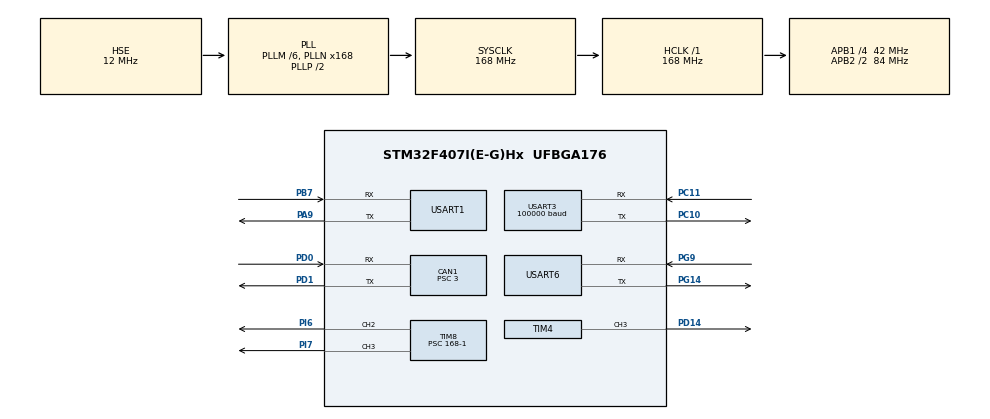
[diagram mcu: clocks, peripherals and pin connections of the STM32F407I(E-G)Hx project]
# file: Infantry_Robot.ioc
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CAN1.ABOM=ENABLE
CAN1.BS1=CAN_BS1_7TQ
CAN1.BS2=CAN_BS2_6TQ
CAN1.CalculateBaudRate=1000000
CAN1.CalculateTimeBit=999.99
CAN1.CalculateTimeQuantum=71.42857142857143
CAN1.Prescaler=3
CAN1.TXFP=ENABLE
Dma.Request0=USART3_RX
Dma.Request1=USART1_RX
Dma.USART1_RX.1.Direction=DMA_PERIPH_TO_MEMORY
Dma.USART1_RX.1.FIFOMode=DMA_FIFOMODE_DISABLE
Dma.USART1_RX.1.Instance=DMA2_Stream2
Dma.USART1_RX.1.MemDataAlignment=DMA_MDATAALIGN_BYTE
Dma.USART1_RX.1.MemInc=DMA_MINC_ENABLE
Dma.USART1_RX.1.Mode=DMA_NORMAL
Dma.USART1_RX.1.PeriphDataAlignment=DMA_PDATAALIGN_BYTE
Dma.USART1_RX.1.PeriphInc=DMA_PINC_DISABLE
Dma.USART1_RX.1.Priority=DMA_PRIORITY_HIGH
Dma.USART3_RX.0.Direction=DMA_PERIPH_TO_MEMORY
Dma.USART3_RX.0.FIFOMode=DMA_FIFOMODE_DISABLE
Dma.USART3_RX.0.Instance=DMA1_Stream1
Dma.USART3_RX.0.MemDataAlignment=DMA_MDATAALIGN_BYTE
Dma.USART3_RX.0.MemInc=DMA_MINC_ENABLE
Dma.USART3_RX.0.Mode=DMA_CIRCULAR
Dma.USART3_RX.0.PeriphDataAlignment=DMA_PDATAALIGN_BYTE
Dma.USART3_RX.0.PeriphInc=DMA_PINC_DISABLE
Dma.USART3_RX.0.Priority=DMA_PRIORITY_VERY_HIGH
Mcu.Family=STM32F4
Mcu.Name=STM32F407I(E-G)Hx
Mcu.Package=UFBGA176
NVIC.CAN1_RX0_IRQn=true\:1\:0\:true\:false\:true\:true\:true
NVIC.DMA1_Stream1_IRQn=true\:0\:0\:false\:false\:true\:false\:true
NVIC.DMA2_Stream2_IRQn=true\:0\:0\:false\:false\:true\:false\:true
NVIC.PriorityGroup=NVIC_PRIORITYGROUP_4
NVIC.TIM2_IRQn=true\:2\:0\:true\:false\:true\:true\:true
NVIC.TIM3_IRQn=true\:2\:0\:true\:false\:true\:true\:true
NVIC.USART1_IRQn=true\:1\:0\:true\:false\:true\:true\:true
NVIC.USART3_IRQn=true\:0\:0\:false\:false\:true\:true\:true
PA13.Mode=Serial_Wire
PA13.Signal=SYS_JTMS-SWDIO
PA14.Mode=Serial_Wire
PA14.Signal=SYS_JTCK-SWCLK
PA9.Mode=Asynchronous
PA9.Signal=USART1_TX
PB7.Mode=Asynchronous
PB7.Signal=USART1_RX
PC10.Mode=Asynchronous
PC10.Signal=USART3_TX
PC11.Mode=Asynchronous
PC11.Signal=USART3_RX
PD0.Mode=CAN_Activate
PD0.Signal=CAN1_RX
PD1.Mode=CAN_Activate
PD1.Signal=CAN1_TX
PD14.Signal=S_TIM4_CH3
PG14.Mode=Asynchronous
PG14.Signal=USART6_TX
PG9.Mode=Asynchronous
PG9.Signal=USART6_RX
PH0-OSC_IN.Mode=HSE-External-Oscillator
PH0-OSC_IN.Signal=RCC_OSC_IN
PH1-OSC_OUT.Mode=HSE-External-Oscillator
PH1-OSC_OUT.Signal=RCC_OSC_OUT
PI6.Signal=S_TIM8_CH2
PI7.Signal=S_TIM8_CH3
ProjectManager.HeapSize=0x200
ProjectManager.StackSize=0x400
ProjectManager.TargetToolchain=MDK-ARM V5.32
RCC.48MHZClocksFreq_Value=84000000
RCC.AHBFreq_Value=168000000
RCC.APB1CLKDivider=RCC_HCLK_DIV4
RCC.APB1Freq_Value=42000000
RCC.APB1TimFreq_Value=84000000
RCC.APB2CLKDivider=RCC_HCLK_DIV2
RCC.APB2Freq_Value=84000000
RCC.APB2TimFreq_Value=168000000
RCC.CortexFreq_Value=168000000
RCC.HCLKFreq_Value=168000000
RCC.HSE_VALUE=12000000
RCC.HSI_VALUE=16000000
RCC.LSE_VALUE=32768
RCC.PLLM=6
RCC.PLLN=168
RCC.PLLSourceVirtual=RCC_PLLSOURCE_HSE
RCC.SYSCLKFreq_VALUE=168000000
RCC.SYSCLKSource=RCC_SYSCLKSOURCE_PLLCLK
RCC.VCOOutputFreq_Value=336000000
SH.S_TIM4_CH3.0=TIM4_CH3,PWM Generation3 CH3
SH.S_TIM8_CH2.0=TIM8_CH2,PWM Generation2 CH2
SH.S_TIM8_CH3.0=TIM8_CH3,PWM Generation3 CH3
TIM2.Period=2000-1
TIM2.Prescaler=84-1
TIM3.Period=1666-1
TIM3.Prescaler=84-1
TIM4.Channel-PWM\ Generation3\ CH3=TIM_CHANNEL_3
TIM4.Period=150-1
TIM4.Prescaler=84-1
TIM8.Channel-PWM\ Generation2\ CH2=TIM_CHANNEL_2
TIM8.Channel-PWM\ Generation3\ CH3=TIM_CHANNEL_3
TIM8.Period=2500-1
TIM8.Prescaler=168-1
TIM8.Pulse-PWM\ Generation2\ CH2=1000-1
TIM8.Pulse-PWM\ Generation3\ CH3=1000-1
USART1.VirtualMode=VM_ASYNC
USART3.BaudRate=100000
USART3.Parity=PARITY_EVEN
USART3.VirtualMode=VM_ASYNC
USART3.WordLength=WORDLENGTH_9B
USART6.VirtualMode=VM_ASYNC
VP_TIM2_VS_ClockSourceINT.Mode=Internal
VP_TIM3_VS_ClockSourceINT.Mode=Internal
VP_TIM4_VS_ClockSourceINT.Mode=Internal
VP_TIM8_VS_ClockSourceINT.Mode=Internal
board=custom

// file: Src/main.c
/* USER CODE BEGIN Header */
/**
  ******************************************************************************
  * @file           : main.c
  * @brief          : Main program body
  ******************************************************************************
  * @attention
  *
  * <h2><center>&copy; Copyright (c) 2022 STMicroelectronics.
  * All rights reserved.</center></h2>
  *
  * This software component is licensed by ST under BSD 3-Clause license,
  * the "License"; You may not use this file except in compliance with the
  * License. You may obtain a copy of the License at:
  *                        opensource.org/licenses/BSD-3-Clause
  *
  ******************************************************************************
  */
/* USER CODE END Header */
#include "main.h"

/* USER CODE BEGIN Includes */
#include "drv_can.h"
#include "drv_usart.h"

#include "oscilloscope.h"
#include "dr16.h"
#include "jy901s.h"
#include "pid.h"
#include "buzzer.h"
#include "gimbals.h"
/* USER CODE END Includes */

CAN_HandleTypeDef hcan1;

TIM_HandleTypeDef htim2;
TIM_HandleTypeDef htim3;
TIM_HandleTypeDef htim4;
TIM_HandleTypeDef htim8;

UART_HandleTypeDef huart1;
UART_HandleTypeDef huart3;
UART_HandleTypeDef huart6;
DMA_HandleTypeDef hdma_usart1_rx;
DMA_HandleTypeDef hdma_usart3_rx;

void SystemClock_Config(void);
static void MX_GPIO_Init(void);
static void MX_CAN1_Init(void);
static void MX_DMA_Init(void);
static void MX_USART1_UART_Init(void);
static void MX_USART3_UART_Init(void);
static void MX_TIM2_Init(void);
static void MX_TIM3_Init(void);
static void MX_TIM8_Init(void);
static void MX_USART6_UART_Init(void);
static void MX_TIM4_Init(void);
/* USER CODE BEGIN PFP */
extern int16_t what;
/* USER CODE END PFP */

int main(void)
{

  /* MCU Configuration--------------------------------------------------------*/

  /* Reset of all peripherals, Initializes the Flash interface and the Systick. */
  HAL_Init();

  /* Configure the system clock */
  SystemClock_Config();

  /* Initialize all configured peripherals */
  MX_GPIO_Init();
  MX_CAN1_Init();
  MX_DMA_Init();
  MX_USART1_UART_Init();
  MX_USART3_UART_Init();
  MX_TIM2_Init();
  MX_TIM3_Init();
  MX_TIM8_Init();
  MX_USART6_UART_Init();
  MX_TIM4_Init();
  /* USER CODE BEGIN 2 */
	//LoveRiver();
  /* USER CODE END 2 */

  /* Infinite loop */
  while (1)
  {

    /* USER CODE BEGIN 3 */
//		OutData[0] =-Mouse_move.y;//pitch轴控制量
//		OutData[1] = pitch_gyro_angle; //pitch轴的实时角度
//		OutData[2] = gyro_exp; //外环经比例运算得到的期望速度
//		OutData[3] = pitch_gyro;//电机实时速度

//		OutData[0] =-Mouse_move.x;//pitch轴控制量
//		OutData[1] = yaw_gyro_angle; //pitch轴的实时角度
//		OutData[2] = yaw_angle_error.Now_out; //外环经比例运算得到的期望速度
//		OutData[3] = yaw_gyro;//电机实时速度
//
//		OutData[0] = yaw_angle_error.Now_out;
//		OutData[1] = yaw_gyro;
//		OutData[2] = yaw_gyro_error.Now;
//		OutData[3] = yaw_gyro_error.Now_out/10;

			OutData[0] = chas7_error.Now;
			OutData[1] = chas7_error.Now_out;
			OutData[2] = Moto_7.speed;
		OutPut_Data();
  }
  /* USER CODE END 3 */
}

void SystemClock_Config(void)
{
  RCC_OscInitTypeDef RCC_OscInitStruct = {0};
  RCC_ClkInitTypeDef RCC_ClkInitStruct = {0};

  /** Configure the main internal regulator output voltage
  */
  __HAL_RCC_PWR_CLK_ENABLE();
  __HAL_PWR_VOLTAGESCALING_CONFIG(PWR_REGULATOR_VOLTAGE_SCALE1);
  /** Initializes the RCC Oscillators according to the specified parameters
  * in the RCC_OscInitTypeDef structure.
  */
  RCC_OscInitStruct.OscillatorType = RCC_OSCILLATORTYPE_HSE;
  RCC_OscInitStruct.HSEState = RCC_HSE_ON;
  RCC_OscInitStruct.PLL.PLLState = RCC_PLL_ON;
  RCC_OscInitStruct.PLL.PLLSource = RCC_PLLSOURCE_HSE;
  RCC_OscInitStruct.PLL.PLLM = 6;
  RCC_OscInitStruct.PLL.PLLN = 168;
  RCC_OscInitStruct.PLL.PLLP = RCC_PLLP_DIV2;
  RCC_OscInitStruct.PLL.PLLQ = 4;
  if (HAL_RCC_OscConfig(&RCC_OscInitStruct) != HAL_OK)
  {
    Error_Handler();
  }
  /** Initializes the CPU, AHB and APB buses clocks
  */
  RCC_ClkInitStruct.ClockType = RCC_CLOCKTYPE_HCLK|RCC_CLOCKTYPE_SYSCLK
                              |RCC_CLOCKTYPE_PCLK1|RCC_CLOCKTYPE_PCLK2;
  RCC_ClkInitStruct.SYSCLKSource = RCC_SYSCLKSOURCE_PLLCLK;
  RCC_ClkInitStruct.AHBCLKDivider = RCC_SYSCLK_DIV1;
  RCC_ClkInitStruct.APB1CLKDivider = RCC_HCLK_DIV4;
  RCC_ClkInitStruct.APB2CLKDivider = RCC_HCLK_DIV2;

  if (HAL_RCC_ClockConfig(&RCC_ClkInitStruct, FLASH_LATENCY_5) != HAL_OK)
  {
    Error_Handler();
  }
}

static void MX_CAN1_Init(void)
{

  hcan1.Instance = CAN1;
  hcan1.Init.Prescaler = 3;
  hcan1.Init.Mode = CAN_MODE_NORMAL;
  hcan1.Init.SyncJumpWidth = CAN_SJW_1TQ;
  hcan1.Init.TimeSeg1 = CAN_BS1_7TQ;
  hcan1.Init.TimeSeg2 = CAN_BS2_6TQ;
  hcan1.Init.TimeTriggeredMode = DISABLE;
  hcan1.Init.AutoBusOff = ENABLE;
  hcan1.Init.AutoWakeUp = DISABLE;
  hcan1.Init.AutoRetransmission = DISABLE;
  hcan1.Init.ReceiveFifoLocked = DISABLE;
  hcan1.Init.TransmitFifoPriority = ENABLE;
  if (HAL_CAN_Init(&hcan1) != HAL_OK)
  {
    Error_Handler();
  }
  /* USER CODE BEGIN CAN1_Init 2 */
	Can_Init();
  /* USER CODE END CAN1_Init 2 */

}

static void MX_TIM2_Init(void)
{

  TIM_ClockConfigTypeDef sClockSourceConfig = {0};
  TIM_MasterConfigTypeDef sMasterConfig = {0};

  htim2.Instance = TIM2;
  htim2.Init.Prescaler = 84-1;
  htim2.Init.CounterMode = TIM_COUNTERMODE_UP;
  htim2.Init.Period = 2000-1;
  htim2.Init.ClockDivision = TIM_CLOCKDIVISION_DIV1;
  htim2.Init.AutoReloadPreload = TIM_AUTORELOAD_PRELOAD_DISABLE;
  if (HAL_TIM_Base_Init(&htim2) != HAL_OK)
  {
    Error_Handler();
  }
  sClockSourceConfig.ClockSource = TIM_CLOCKSOURCE_INTERNAL;
  if (HAL_TIM_ConfigClockSource(&htim2, &sClockSourceConfig) != HAL_OK)
  {
    Error_Handler();
  }
  sMasterConfig.MasterOutputTrigger = TIM_TRGO_RESET;
  sMasterConfig.MasterSlaveMode = TIM_MASTERSLAVEMODE_DISABLE;
  if (HAL_TIMEx_MasterConfigSynchronization(&htim2, &sMasterConfig) != HAL_OK)
  {
    Error_Handler();
  }
  /* USER CODE BEGIN TIM2_Init 2 */
	HAL_TIM_Base_Start_IT(&htim2);
  /* USER CODE END TIM2_Init 2 */

}

static void MX_TIM3_Init(void)
{

  TIM_ClockConfigTypeDef sClockSourceConfig = {0};
  TIM_MasterConfigTypeDef sMasterConfig = {0};

  htim3.Instance = TIM3;
  htim3.Init.Prescaler = 84-1;
  htim3.Init.CounterMode = TIM_COUNTERMODE_UP;
  htim3.Init.Period = 1666-1;
  htim3.Init.ClockDivision = TIM_CLOCKDIVISION_DIV1;
  htim3.Init.AutoReloadPreload = TIM_AUTORELOAD_PRELOAD_DISABLE;
  if (HAL_TIM_Base_Init(&htim3) != HAL_OK)
  {
    Error_Handler();
  }
  sClockSourceConfig.ClockSource = TIM_CLOCKSOURCE_INTERNAL;
  if (HAL_TIM_ConfigClockSource(&htim3, &sClockSourceConfig) != HAL_OK)
  {
    Error_Handler();
  }
  sMasterConfig.MasterOutputTrigger = TIM_TRGO_RESET;
  sMasterConfig.MasterSlaveMode = TIM_MASTERSLAVEMODE_DISABLE;
  if (HAL_TIMEx_MasterConfigSynchronization(&htim3, &sMasterConfig) != HAL_OK)
  {
    Error_Handler();
  }
  /* USER CODE BEGIN TIM3_Init 2 */
	HAL_TIM_Base_Start_IT(&htim3);
  /* USER CODE END TIM3_Init 2 */

}

static void MX_TIM4_Init(void)
{

  TIM_ClockConfigTypeDef sClockSourceConfig = {0};
  TIM_MasterConfigTypeDef sMasterConfig = {0};
  TIM_OC_InitTypeDef sConfigOC = {0};

  htim4.Instance = TIM4;
  htim4.Init.Prescaler = 84-1;
  htim4.Init.CounterMode = TIM_COUNTERMODE_UP;
  htim4.Init.Period = 150-1;
  htim4.Init.ClockDivision = TIM_CLOCKDIVISION_DIV1;
  htim4.Init.AutoReloadPreload = TIM_AUTORELOAD_PRELOAD_DISABLE;
  if (HAL_TIM_Base_Init(&htim4) != HAL_OK)
  {
    Error_Handler();
  }
  sClockSourceConfig.ClockSource = TIM_CLOCKSOURCE_INTERNAL;
  if (HAL_TIM_ConfigClockSource(&htim4, &sClockSourceConfig) != HAL_OK)
  {
    Error_Handler();
  }
  if (HAL_TIM_PWM_Init(&htim4) != HAL_OK)
  {
    Error_Handler();
  }
  sMasterConfig.MasterOutputTrigger = TIM_TRGO_RESET;
  sMasterConfig.MasterSlaveMode = TIM_MASTERSLAVEMODE_DISABLE;
  if (HAL_TIMEx_MasterConfigSynchronization(&htim4, &sMasterConfig) != HAL_OK)
  {
    Error_Handler();
  }
  sConfigOC.OCMode = TIM_OCMODE_PWM1;
  sConfigOC.Pulse = 0;
  sConfigOC.OCPolarity = TIM_OCPOLARITY_HIGH;
  sConfigOC.OCFastMode = TIM_OCFAST_DISABLE;
  if (HAL_TIM_PWM_ConfigChannel(&htim4, &sConfigOC, TIM_CHANNEL_3) != HAL_OK)
  {
    Error_Handler();
  }
  /* USER CODE BEGIN TIM4_Init 2 */
	HAL_TIM_PWM_Start(&htim4,TIM_CHANNEL_3);
  /* USER CODE END TIM4_Init 2 */
  HAL_TIM_MspPostInit(&htim4);

}

static void MX_TIM8_Init(void)
{

  TIM_ClockConfigTypeDef sClockSourceConfig = {0};
  TIM_MasterConfigTypeDef sMasterConfig = {0};
  TIM_OC_InitTypeDef sConfigOC = {0};
  TIM_BreakDeadTimeConfigTypeDef sBreakDeadTimeConfig = {0};

  htim8.Instance = TIM8;
  htim8.Init.Prescaler = 168-1;
  htim8.Init.CounterMode = TIM_COUNTERMODE_UP;
  htim8.Init.Period = 2500-1;
  htim8.Init.ClockDivision = TIM_CLOCKDIVISION_DIV1;
  htim8.Init.RepetitionCounter = 0;
  htim8.Init.AutoReloadPreload = TIM_AUTORELOAD_PRELOAD_DISABLE;
  if (HAL_TIM_Base_Init(&htim8) != HAL_OK)
  {
    Error_Handler();
  }
  sClockSourceConfig.ClockSource = TIM_CLOCKSOURCE_INTERNAL;
  if (HAL_TIM_ConfigClockSource(&htim8, &sClockSourceConfig) != HAL_OK)
  {
    Error_Handler();
  }
  if (HAL_TIM_PWM_Init(&htim8) != HAL_OK)
  {
    Error_Handler();
  }
  sMasterConfig.MasterOutputTrigger = TIM_TRGO_RESET;
  sMasterConfig.MasterSlaveMode = TIM_MASTERSLAVEMODE_DISABLE;
  if (HAL_TIMEx_MasterConfigSynchronization(&htim8, &sMasterConfig) != HAL_OK)
  {
    Error_Handler();
  }
  sConfigOC.OCMode = TIM_OCMODE_PWM1;
  sConfigOC.Pulse = 1000-1;
  sConfigOC.OCPolarity = TIM_OCPOLARITY_HIGH;
  sConfigOC.OCNPolarity = TIM_OCNPOLARITY_HIGH;
  sConfigOC.OCFastMode = TIM_OCFAST_DISABLE;
  sConfigOC.OCIdleState = TIM_OCIDLESTATE_RESET;
  sConfigOC.OCNIdleState = TIM_OCNIDLESTATE_RESET;
  if (HAL_TIM_PWM_ConfigChannel(&htim8, &sConfigOC, TIM_CHANNEL_2) != HAL_OK)
  {
    Error_Handler();
  }
  if (HAL_TIM_PWM_ConfigChannel(&htim8, &sConfigOC, TIM_CHANNEL_3) != HAL_OK)
  {
    Error_Handler();
  }
  sBreakDeadTimeConfig.OffStateRunMode = TIM_OSSR_DISABLE;
  sBreakDeadTimeConfig.OffStateIDLEMode = TIM_OSSI_DISABLE;
  sBreakDeadTimeConfig.LockLevel = TIM_LOCKLEVEL_OFF;
  sBreakDeadTimeConfig.DeadTime = 0;
  sBreakDeadTimeConfig.BreakState = TIM_BREAK_DISABLE;
  sBreakDeadTimeConfig.BreakPolarity = TIM_BREAKPOLARITY_HIGH;
  sBreakDeadTimeConfig.AutomaticOutput = TIM_AUTOMATICOUTPUT_DISABLE;
  if (HAL_TIMEx_ConfigBreakDeadTime(&htim8, &sBreakDeadTimeConfig) != HAL_OK)
  {
    Error_Handler();
  }
  /* USER CODE BEGIN TIM8_Init 2 */
	HAL_TIM_PWM_Start(&htim8,TIM_CHANNEL_2);
	HAL_TIM_PWM_Start(&htim8,TIM_CHANNEL_3);
	HAL_Delay(500);
  /* USER CODE END TIM8_Init 2 */
  HAL_TIM_MspPostInit(&htim8);

}

static void MX_USART1_UART_Init(void)
{

  huart1.Instance = USART1;
  huart1.Init.BaudRate = 115200;
  huart1.Init.WordLength = UART_WORDLENGTH_8B;
  huart1.Init.StopBits = UART_STOPBITS_1;
  huart1.Init.Parity = UART_PARITY_NONE;
  huart1.Init.Mode = UART_MODE_TX_RX;
  huart1.Init.HwFlowCtl = UART_HWCONTROL_NONE;
  huart1.Init.OverSampling = UART_OVERSAMPLING_16;
  if (HAL_UART_Init(&huart1) != HAL_OK)
  {
    Error_Handler();
  }
  /* USER CODE BEGIN USART1_Init 2 */
	JY901_Init();
  /* USER CODE END USART1_Init 2 */

}

static void MX_USART3_UART_Init(void)
{

  huart3.Instance = USART3;
  huart3.Init.BaudRate = 100000;
  huart3.Init.WordLength = UART_WORDLENGTH_9B;
  huart3.Init.StopBits = UART_STOPBITS_1;
  huart3.Init.Parity = UART_PARITY_EVEN;
  huart3.Init.Mode = UART_MODE_TX_RX;
  huart3.Init.HwFlowCtl = UART_HWCONTROL_NONE;
  huart3.Init.OverSampling = UART_OVERSAMPLING_16;
  if (HAL_UART_Init(&huart3) != HAL_OK)
  {
    Error_Handler();
  }
  /* USER CODE BEGIN USART3_Init 2 */
	RC_Init();
  /* USER CODE END USART3_Init 2 */

}

static void MX_USART6_UART_Init(void)
{

  huart6.Instance = USART6;
  huart6.Init.BaudRate = 115200;
  huart6.Init.WordLength = UART_WORDLENGTH_8B;
  huart6.Init.StopBits = UART_STOPBITS_1;
  huart6.Init.Parity = UART_PARITY_NONE;
  huart6.Init.Mode = UART_MODE_TX_RX;
  huart6.Init.HwFlowCtl = UART_HWCONTROL_NONE;
  huart6.Init.OverSampling = UART_OVERSAMPLING_16;
  if (HAL_UART_Init(&huart6) != HAL_OK)
  {
    Error_Handler();
  }

}

static void MX_DMA_Init(void)
{

  /* DMA controller clock enable */
  __HAL_RCC_DMA1_CLK_ENABLE();
  __HAL_RCC_DMA2_CLK_ENABLE();

  /* DMA interrupt init */
  /* DMA1_Stream1_IRQn interrupt configuration */
  HAL_NVIC_SetPriority(DMA1_Stream1_IRQn, 0, 0);
  HAL_NVIC_EnableIRQ(DMA1_Stream1_IRQn);
  /* DMA2_Stream2_IRQn interrupt configuration */
  HAL_NVIC_SetPriority(DMA2_Stream2_IRQn, 0, 0);
  HAL_NVIC_EnableIRQ(DMA2_Stream2_IRQn);

}

static void MX_GPIO_Init(void)
{

  /* GPIO Ports Clock Enable */
  __HAL_RCC_GPIOG_CLK_ENABLE();
  __HAL_RCC_GPIOA_CLK_ENABLE();
  __HAL_RCC_GPIOB_CLK_ENABLE();
  __HAL_RCC_GPIOD_CLK_ENABLE();
  __HAL_RCC_GPIOC_CLK_ENABLE();
  __HAL_RCC_GPIOI_CLK_ENABLE();
  __HAL_RCC_GPIOH_CLK_ENABLE();

}

void Error_Handler(void)
{
  __disable_irq();
  while (1)
  {
  }
}

/************************ (C) COPYRIGHT STMicroelectronics *****END OF FILE****/
